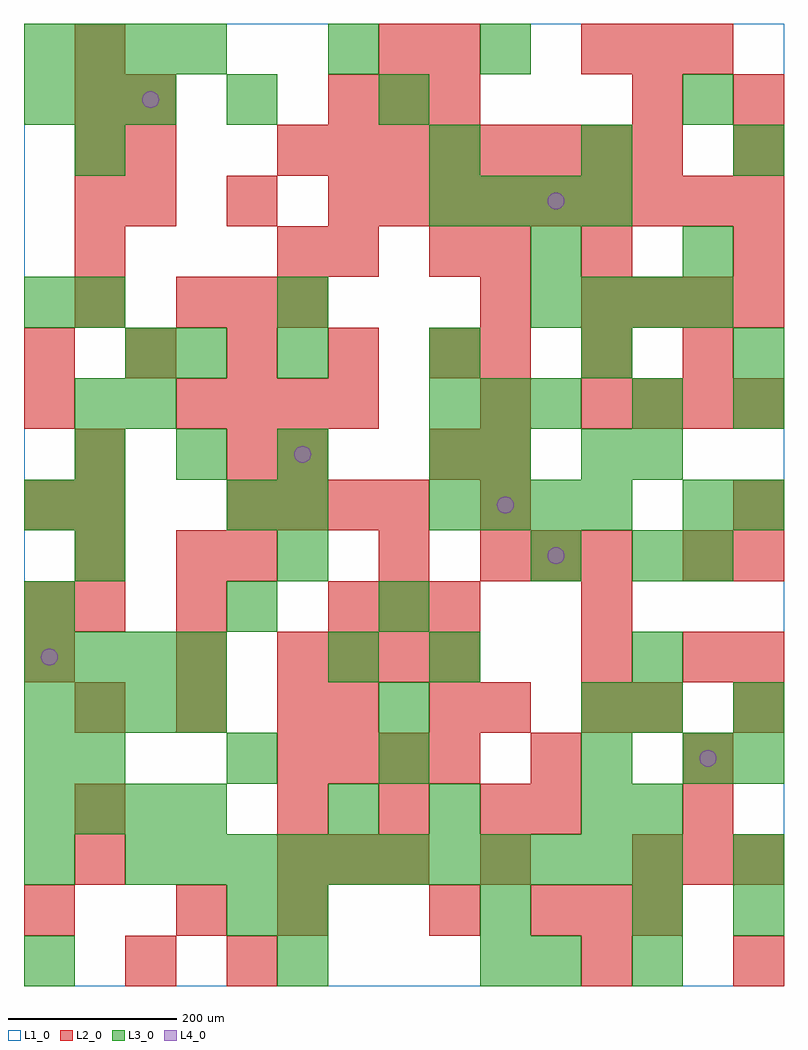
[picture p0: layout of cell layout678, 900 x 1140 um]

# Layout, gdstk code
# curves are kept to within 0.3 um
import gdstk
lib = gdstk.Library(unit=1e-6, precision=1e-09)
def R(c, l, rs):  # rectangles x0, y0, x1, y1
    for r in rs: c.add(gdstk.rectangle(r[:2], r[2:], *l))
def A(c, l, x, y, w, h, nx, ny, dx, dy):  # array of equal rectangles
    R(c, l, [(x+i*dx, y+j*dy, x+i*dx+w, y+j*dy+h) for i in range(nx) for j in range(ny)])
def P(c, l, *ps):  # polygons
    for p in ps: c.add(gdstk.Polygon(p, *l))
L1_0 = (1, 0)
L2_0 = (2, 0)
L3_0 = (3, 0)
L4_0 = (4, 0)

layout678 = lib.new_cell('layout678')
R(layout678, L1_0, [(0,0,900,1140)])
A(layout678, L2_0, 600, 60, 60, 60, 3, 1, 60, 0)
A(layout678, L2_0, 300, 120, 60, 60, 3, 1, 60, 0)
A(layout678, L2_0, 720, 120, 60, 60, 3, 1, 60, 0)
A(layout678, L2_0, 300, 180, 60, 60, 3, 1, 120, 0)
A(layout678, L2_0, 300, 240, 60, 60, 4, 2, 60, 120)
A(layout678, L2_0, 780, 240, 60, 60, 1, 3, 0, 120)
A(layout678, L2_0, 60, 300, 60, 60, 3, 1, 120, 0)
A(layout678, L2_0, 660, 300, 60, 60, 1, 3, 0, 60)
A(layout678, L2_0, 180, 360, 60, 60, 1, 3, 0, 60)
A(layout678, L2_0, 0, 420, 60, 60, 1, 3, 0, 120)
A(layout678, L2_0, 60, 420, 60, 60, 1, 4, 0, 60)
A(layout678, L2_0, 360, 420, 60, 60, 3, 2, 60, 600)
A(layout678, L2_0, 540, 480, 60, 60, 3, 1, 60, 0)
A(layout678, L2_0, 240, 540, 60, 60, 4, 1, 60, 0)
A(layout678, L2_0, 540, 540, 60, 60, 1, 3, 0, 60)
A(layout678, L2_0, 480, 600, 60, 60, 1, 3, 0, 240)
A(layout678, L2_0, 180, 660, 60, 60, 4, 1, 60, 0)
A(layout678, L2_0, 660, 660, 60, 60, 4, 2, 60, 120)
A(layout678, L2_0, 0, 720, 60, 60, 5, 1, 120, 0)
A(layout678, L2_0, 540, 720, 60, 60, 3, 1, 120, 0)
A(layout678, L2_0, 60, 780, 60, 60, 1, 6, 0, 60)
A(layout678, L2_0, 180, 780, 60, 60, 3, 1, 60, 0)
A(layout678, L2_0, 120, 900, 60, 60, 3, 1, 120, 0)
A(layout678, L2_0, 420, 900, 60, 60, 8, 1, 60, 0)
A(layout678, L2_0, 300, 960, 60, 60, 8, 1, 60, 0)
A(layout678, L2_0, 660, 1080, 60, 60, 3, 1, 60, 0)
R(layout678, L2_0, [(120,0,180,60), (240,0,300,60), (660,0,720,60), (840,0,900,60), (0,60,60,120), (180,60,240,120), (300,60,360,120), (480,60,540,120), (60,120,120,180), (540,120,600,180), (60,180,120,240), (600,180,660,240), (780,180,840,240), (600,240,660,300), (360,300,420,360), (480,300,540,360), (540,300,600,360), (720,300,780,360), (840,300,900,360), (0,360,60,420), (840,360,900,420), (240,480,300,540), (420,480,480,540), (840,480,900,540), (840,540,900,600), (240,600,300,660), (300,600,360,660), (540,780,600,840), (300,840,360,900), (360,840,420,900), (540,840,600,900), (660,840,720,900), (840,840,900,900), (120,960,180,1020), (840,960,900,1020), (120,1020,180,1080), (720,1020,780,1080), (840,1020,900,1080), (420,1080,480,1140)])
A(layout678, L3_0, 0, 0, 60, 60, 1, 3, 0, 120)
A(layout678, L3_0, 720, 60, 60, 60, 1, 3, 0, 120)
A(layout678, L3_0, 120, 120, 60, 60, 11, 1, 60, 0)
A(layout678, L3_0, 0, 180, 60, 60, 4, 2, 60, 120)
A(layout678, L3_0, 660, 180, 60, 60, 1, 3, 0, 60)
A(layout678, L3_0, 60, 240, 60, 60, 3, 1, 180, 0)
A(layout678, L3_0, 0, 360, 60, 60, 4, 2, 60, 720)
A(layout678, L3_0, 720, 360, 60, 60, 1, 3, 0, 120)
A(layout678, L3_0, 60, 540, 60, 60, 1, 3, 0, 120)
A(layout678, L3_0, 480, 540, 60, 60, 4, 2, 60, 360)
A(layout678, L3_0, 60, 600, 60, 60, 3, 1, 120, 0)
A(layout678, L3_0, 480, 660, 60, 60, 3, 1, 60, 0)
A(layout678, L3_0, 300, 720, 60, 60, 4, 1, 180, 0)
A(layout678, L3_0, 600, 780, 60, 60, 4, 1, 60, 0)
A(layout678, L3_0, 480, 960, 60, 60, 3, 1, 180, 0)
A(layout678, L3_0, 0, 1020, 60, 60, 3, 1, 60, 0)
R(layout678, L3_0, [(300,0,360,60), (540,0,600,60), (600,0,660,60), (720,0,780,60), (240,60,300,120), (300,60,360,120), (540,60,600,120), (840,60,900,120), (840,120,900,180), (360,180,420,240), (480,180,540,240), (780,240,840,300), (840,240,900,300), (420,300,480,360), (840,300,900,360), (360,360,420,420), (480,360,540,420), (0,420,60,480), (240,420,300,480), (420,420,480,480), (60,480,120,540), (300,480,360,540), (600,480,660,540), (780,480,840,540), (0,540,60,600), (240,540,300,600), (300,540,360,600), (780,540,840,600), (840,540,900,600), (480,600,540,660), (540,600,600,660), (660,600,720,660), (120,660,180,720), (720,660,780,720), (840,660,900,720), (120,720,180,780), (180,720,240,780), (0,780,60,840), (300,780,360,840), (600,840,660,900), (780,840,840,900), (60,960,120,1020), (240,1020,300,1080), (420,1020,480,1080), (780,1020,840,1080), (360,1080,420,1140), (540,1080,600,1140)])
P(layout678, L4_0, [(40,390),(39.239,393.827),(37.071,397.071),(33.827,399.239),(30,400),(26.173,399.239),(22.929,397.071),(20.761,393.827),(20,390),(20.761,386.173),(22.929,382.929),(26.173,380.761),(30,380),(33.827,380.761),(37.071,382.929),(39.239,386.173)],
  [(160,1050),(159.239,1053.827),(157.071,1057.071),(153.827,1059.239),(150,1060),(146.173,1059.239),(142.929,1057.071),(140.761,1053.827),(140,1050),(140.761,1046.173),(142.929,1042.929),(146.173,1040.761),(150,1040),(153.827,1040.761),(157.071,1042.929),(159.239,1046.173)],
  [(340,630),(339.239,633.827),(337.071,637.071),(333.827,639.239),(330,640),(326.173,639.239),(322.929,637.071),(320.761,633.827),(320,630),(320.761,626.173),(322.929,622.929),(326.173,620.761),(330,620),(333.827,620.761),(337.071,622.929),(339.239,626.173)],
  [(580,570),(579.239,573.827),(577.071,577.071),(573.827,579.239),(570,580),(566.173,579.239),(562.929,577.071),(560.761,573.827),(560,570),(560.761,566.173),(562.929,562.929),(566.173,560.761),(570,560),(573.827,560.761),(577.071,562.929),(579.239,566.173)],
  [(640,510),(639.239,513.827),(637.071,517.071),(633.827,519.239),(630,520),(626.173,519.239),(622.929,517.071),(620.761,513.827),(620,510),(620.761,506.173),(622.929,502.929),(626.173,500.761),(630,500),(633.827,500.761),(637.071,502.929),(639.239,506.173)],
  [(640,930),(639.239,933.827),(637.071,937.071),(633.827,939.239),(630,940),(626.173,939.239),(622.929,937.071),(620.761,933.827),(620,930),(620.761,926.173),(622.929,922.929),(626.173,920.761),(630,920),(633.827,920.761),(637.071,922.929),(639.239,926.173)],
  [(820,270),(819.239,273.827),(817.071,277.071),(813.827,279.239),(810,280),(806.173,279.239),(802.929,277.071),(800.761,273.827),(800,270),(800.761,266.173),(802.929,262.929),(806.173,260.761),(810,260),(813.827,260.761),(817.071,262.929),(819.239,266.173)])

lib.write_gds('layout678.gds')
